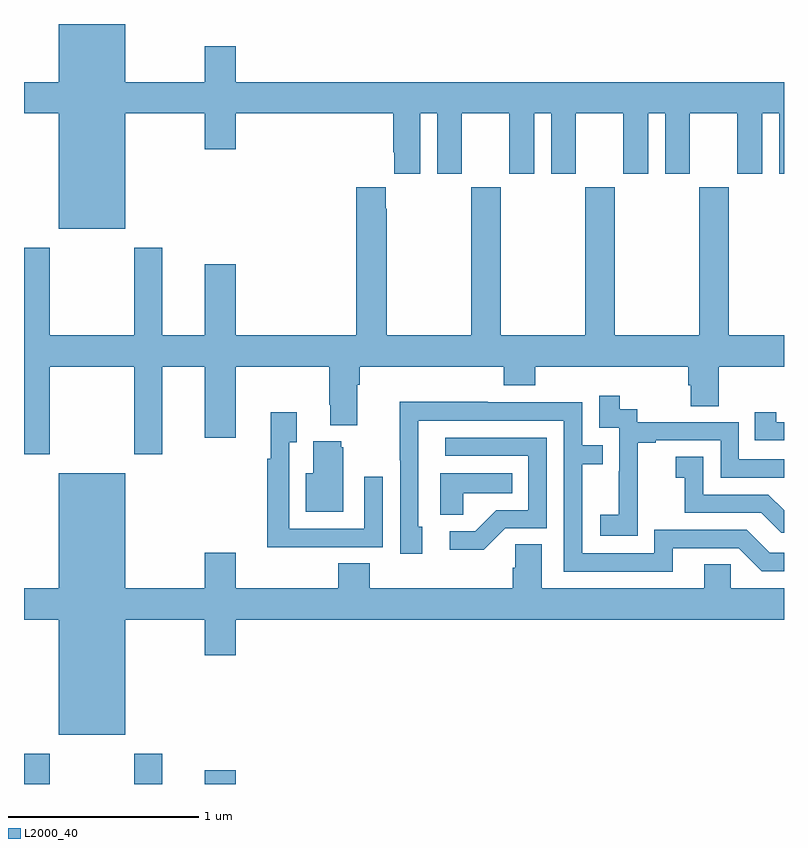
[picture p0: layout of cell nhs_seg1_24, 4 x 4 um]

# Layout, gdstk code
import gdstk
lib = gdstk.Library(unit=1e-6, precision=1e-09)
def R(c, l, rs):  # rectangles x0, y0, x1, y1
    for r in rs: c.add(gdstk.rectangle(r[:2], r[2:], *l))
def P(c, l, *ps):  # polygons
    for p in ps: c.add(gdstk.Polygon(p, *l))
L2000_40 = (2000, 40)

nhs_seg1_24 = lib.new_cell('nhs_seg1_24')
R(nhs_seg1_24, L2000_40, [(111,552.199,111.135,552.358), (111.58,552.199,111.727,552.358), (111.95,552.199,112.114,552.271)])
P(nhs_seg1_24, L2000_40, [(111.532,555.728),(111.95,555.728),(111.95,555.54),(112.114,555.54),(112.114,555.728),(112.943,555.728),(112.943,555.523),(112.949,555.523),(112.949,555.411),(113.086,555.411),(113.086,555.728),(113.174,555.728),(113.174,555.411),(113.305,555.411),(113.305,555.728),(113.555,555.728),(113.555,555.411),(113.686,555.411),(113.686,555.728),(113.774,555.728),(113.774,555.411),(113.905,555.411),(113.905,555.728),(114.155,555.728),(114.155,555.411),(114.286,555.411),(114.286,555.728),(114.374,555.728),(114.374,555.411),(114.505,555.411),(114.505,555.728),(114.755,555.728),(114.755,555.411),(114.886,555.411),(114.886,555.728),(114.974,555.728),(114.974,555.411),(115,555.411),(115,555.892),(112.114,555.892),(112.114,556.081),(111.95,556.081),(111.95,555.892),(111.532,555.892),(111.532,556.199),(111.182,556.199),(111.182,555.892),(111,555.892),(111,555.728),(111.182,555.728),(111.182,555.122),(111.532,555.122)],
  [(111.135,554.396),(111.58,554.396),(111.58,553.935),(111.727,553.935),(111.727,554.396),(111.95,554.396),(111.95,554.022),(112.114,554.022),(112.114,554.396),(112.606,554.396),(112.606,554.194),(112.613,554.194),(112.613,554.087),(112.753,554.087),(112.753,554.3),(112.766,554.3),(112.766,554.396),(113.525,554.396),(113.525,554.297),(113.69,554.297),(113.69,554.396),(114.497,554.396),(114.497,554.298),(114.509,554.298),(114.509,554.188),(114.657,554.188),(114.657,554.396),(115,554.396),(115,554.56),(114.708,554.56),(114.708,555.34),(114.553,555.34),(114.553,554.56),(114.108,554.56),(114.108,555.34),(113.953,555.34),(113.953,554.56),(113.508,554.56),(113.508,555.34),(113.353,555.34),(113.353,554.56),(112.908,554.56),(112.908,555.227),(112.903,555.227),(112.903,555.34),(112.748,555.34),(112.748,554.56),(112.114,554.56),(112.114,554.935),(111.95,554.935),(111.95,554.56),(111.727,554.56),(111.727,555.022),(111.58,555.022),(111.58,554.56),(111.135,554.56),(111.135,555.022),(111,555.022),(111,553.935),(111.135,553.935)],
  [(114.231,553.711),(114.23,553.711),(114.23,553.995),(114.325,553.995),(114.325,554.007),(114.666,554.007),(114.666,553.812),(115,553.812),(115,553.908),(114.762,553.908),(114.762,554.103),(114.228,554.103),(114.228,554.172),(114.136,554.172),(114.136,554.242),(114.027,554.242),(114.027,554.073),(114.132,554.073),(114.132,553.844),(114.131,553.844),(114.131,553.615),(114.033,553.615),(114.033,553.505),(114.231,553.505)],
  [(114.415,553.44),(114.762,553.44),(114.882,553.32),(115,553.32),(115,553.416),(114.924,553.416),(114.804,553.536),(114.318,553.536),(114.318,553.413),(113.937,553.413),(113.937,553.882),(114.047,553.882),(114.047,553.983),(113.937,553.983),(113.937,554.208),(113.441,554.208),(113.441,554.21),(112.978,554.21),(112.978,553.903),(112.98,553.903),(112.98,553.41),(113.095,553.41),(113.095,553.554),(113.076,553.554),(113.076,554.112),(113.841,554.112),(113.841,553.317),(114.415,553.317)],
  [(115,554.103),(114.958,554.103),(114.958,554.155),(114.847,554.155),(114.847,554.007),(115,554.007)],
  [(112.571,553.446),(112.887,553.446),(112.887,553.816),(112.791,553.816),(112.791,553.542),(112.395,553.542),(112.395,553.999),(112.435,553.999),(112.435,554.155),(112.298,554.155),(112.298,553.91),(112.279,553.91),(112.279,553.445),(112.571,553.445)],
  [(113.532,553.545),(113.751,553.545),(113.751,554.022),(113.217,554.022),(113.217,553.926),(113.655,553.926),(113.655,553.641),(113.486,553.641),(113.375,553.53),(113.241,553.53),(113.241,553.433),(113.419,553.433)],
  [(112.681,553.971),(112.67,553.971),(112.67,554.002),(112.523,554.002),(112.523,553.834),(112.484,553.834),(112.484,553.631),(112.681,553.631)],
  [(115,553.64),(114.918,553.722),(114.576,553.722),(114.576,553.921),(114.429,553.921),(114.429,553.811),(114.478,553.811),(114.478,553.626),(114.881,553.626),(114.986,553.521),(115,553.521)],
  [(111.532,553.064),(111.95,553.064),(111.95,552.876),(112.114,552.876),(112.114,553.064),(115,553.064),(115,553.228),(114.72,553.228),(114.72,553.355),(114.581,553.355),(114.581,553.228),(113.725,553.228),(113.725,553.46),(113.586,553.46),(113.586,553.337),(113.573,553.337),(113.573,553.228),(112.82,553.228),(112.82,553.361),(112.655,553.361),(112.655,553.228),(112.114,553.228),(112.114,553.417),(111.95,553.417),(111.95,553.228),(111.532,553.228),(111.532,553.834),(111.182,553.834),(111.182,553.228),(111,553.228),(111,553.064),(111.182,553.064),(111.182,552.458),(111.532,552.458)],
  [(113.313,553.73),(113.57,553.73),(113.57,553.834),(113.192,553.834),(113.192,553.615),(113.313,553.615)])

lib.write_gds('nhs_seg1_24.gds')
